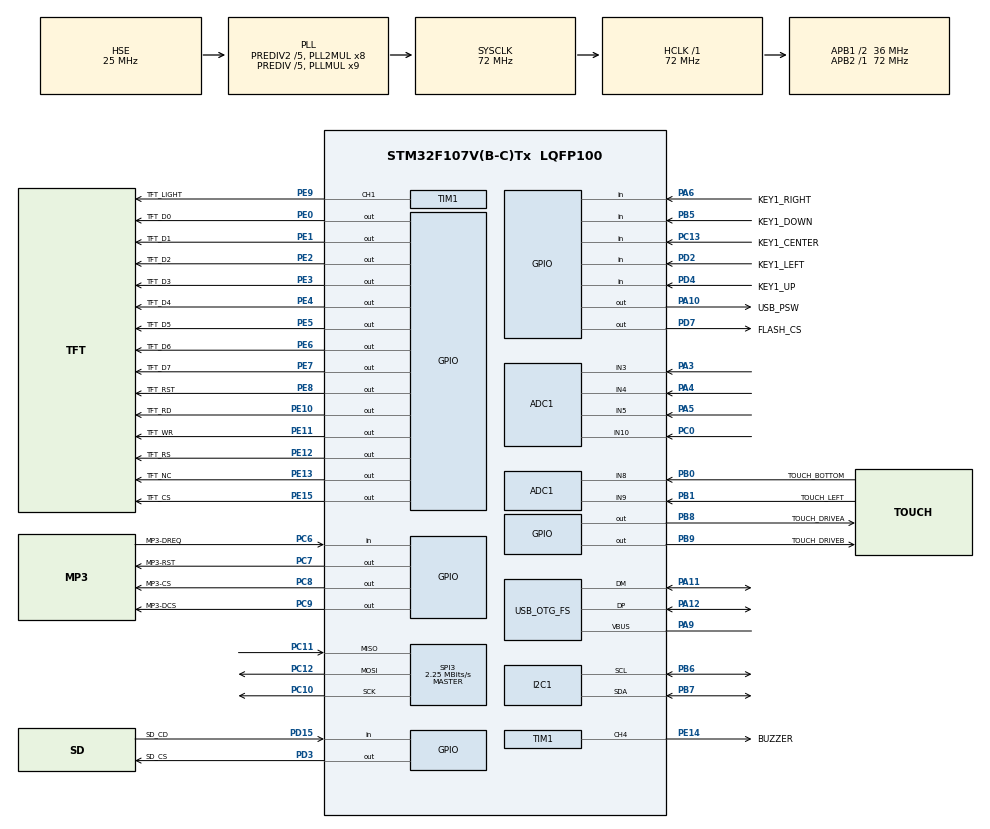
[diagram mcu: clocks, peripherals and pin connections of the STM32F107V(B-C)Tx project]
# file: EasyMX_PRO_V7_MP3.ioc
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ADC1.Channel-0\#ChannelRegularConversion=ADC_CHANNEL_8
ADC1.Channel-1\#ChannelRegularConversion=ADC_CHANNEL_9
ADC1.ContinuousConvMode=ENABLE
ADC1.NbrOfConversion=2
ADC1.NbrOfConversionFlag=1
ADC1.Rank-0\#ChannelRegularConversion=1
ADC1.Rank-1\#ChannelRegularConversion=2
ADC1.SamplingTime-0\#ChannelRegularConversion=ADC_SAMPLETIME_239CYCLES_5
ADC1.SamplingTime-1\#ChannelRegularConversion=ADC_SAMPLETIME_239CYCLES_5
ADC1.master=1
Dma.ADC1.0.Direction=DMA_PERIPH_TO_MEMORY
Dma.ADC1.0.Instance=DMA1_Channel1
Dma.ADC1.0.MemDataAlignment=DMA_MDATAALIGN_HALFWORD
Dma.ADC1.0.MemInc=DMA_MINC_ENABLE
Dma.ADC1.0.Mode=DMA_CIRCULAR
Dma.ADC1.0.PeriphDataAlignment=DMA_PDATAALIGN_HALFWORD
Dma.ADC1.0.PeriphInc=DMA_PINC_DISABLE
Dma.ADC1.0.Priority=DMA_PRIORITY_LOW
Dma.Request0=ADC1
FATFS._CODE_PAGE=1251
FATFS._USE_LFN=3
FREERTOS.Tasks01=defaultTask,0,5048,StartDefaultTask,Default,NULL,Dynamic,NULL,NULL
FREERTOS.configTOTAL_HEAP_SIZE=50096
FREERTOS.configUSE_COUNTING_SEMAPHORES=1
Mcu.Family=STM32F1
Mcu.Name=STM32F107V(B-C)Tx
Mcu.Package=LQFP100
NVIC.ADC1_2_IRQn=true\:5\:0\:false\:false\:true\:true\:true
NVIC.DMA1_Channel1_IRQn=true\:5\:0\:false\:false\:true\:true\:false
NVIC.OTG_FS_IRQn=true\:5\:0\:false\:false\:true\:true\:false
NVIC.PriorityGroup=NVIC_PRIORITYGROUP_4
NVIC.TIM2_IRQn=true\:0\:0\:false\:false\:true\:false\:false
NVIC.TimeBase=TIM2_IRQn
NVIC.TimeBaseIP=TIM2
OSC_IN.Mode=HSE-External-Oscillator
OSC_IN.Signal=RCC_OSC_IN
OSC_OUT.Mode=HSE-External-Oscillator
OSC_OUT.Signal=RCC_OSC_OUT
PA10.GPIO_Label=USB_PSW
PA10.GPIO_Speed=GPIO_SPEED_FREQ_HIGH
PA10.Signal=GPIO_Output
PA11.Mode=Host_Only
PA11.Signal=USB_OTG_FS_DM
PA12.Mode=Host_Only
PA12.Signal=USB_OTG_FS_DP
PA13.Mode=JTAG_5_pins
PA13.Signal=SYS_JTMS-SWDIO
PA14.Mode=JTAG_5_pins
PA14.Signal=SYS_JTCK-SWCLK
PA15.Mode=JTAG_5_pins
PA15.Signal=SYS_JTDI
PA3.Signal=ADCx_IN3
PA4.Signal=ADCx_IN4
PA5.Signal=ADCx_IN5
PA6.GPIO_Label=KEY1_RIGHT
PA6.Signal=GPIO_Input
PA9.Mode=Activate_VBUS
PA9.Signal=USB_OTG_FS_VBUS
PB0.GPIO_Label=TOUCH_BOTTOM
PB0.Signal=ADCx_IN8
PB1.GPIO_Label=TOUCH_LEFT
PB1.Signal=ADCx_IN9
PB3.Mode=JTAG_5_pins
PB3.Signal=SYS_JTDO
PB4.Mode=JTAG_5_pins
PB4.Signal=SYS_NJTRST
PB5.GPIO_Label=KEY1_DOWN
PB5.Signal=GPIO_Input
PB6.Mode=I2C
PB6.Signal=I2C1_SCL
PB7.Mode=I2C
PB7.Signal=I2C1_SDA
PB8.GPIO_Label=TOUCH_DRIVEA
PB8.GPIO_Speed=GPIO_SPEED_FREQ_HIGH
PB8.Signal=GPIO_Output
PB9.GPIO_Label=TOUCH_DRIVEB
PB9.GPIO_Speed=GPIO_SPEED_FREQ_HIGH
PB9.Signal=GPIO_Output
PC0.Signal=ADCx_IN10
PC10.Mode=Full_Duplex_Master
PC10.Signal=SPI3_SCK
PC11.Mode=Full_Duplex_Master
PC11.Signal=SPI3_MISO
PC12.Mode=Full_Duplex_Master
PC12.Signal=SPI3_MOSI
PC13-TAMPER-RTC.GPIO_Label=KEY1_CENTER
PC13-TAMPER-RTC.Signal=GPIO_Input
PC14-OSC32_IN.Mode=LSE-External-Oscillator
PC14-OSC32_IN.Signal=RCC_OSC32_IN
PC15-OSC32_OUT.Mode=LSE-External-Oscillator
PC15-OSC32_OUT.Signal=RCC_OSC32_OUT
PC6.GPIO_Label=MP3-DREQ
PC6.Signal=GPIO_Input
PC7.GPIO_Label=MP3-RST
PC7.GPIO_Speed=GPIO_SPEED_FREQ_LOW
PC7.Signal=GPIO_Output
PC8.GPIO_Label=MP3-CS
PC8.Signal=GPIO_Output
PC9.GPIO_Label=MP3-DCS
PC9.Signal=GPIO_Output
PD0.Signal=CAN1_RX
PD1.Signal=CAN1_TX
PD15.GPIO_Label=SD_CD
PD15.Signal=GPIO_Input
PD2.GPIO_Label=KEY1_LEFT
PD2.Signal=GPIO_Input
PD3.GPIO_Label=SD_CS
PD3.GPIO_Speed=GPIO_SPEED_FREQ_HIGH
PD3.Signal=GPIO_Output
PD4.GPIO_Label=KEY1_UP
PD4.Signal=GPIO_Input
PD5.Signal=USART2_TX
PD6.Signal=USART2_RX
PD7.GPIO_Label=FLASH_CS
PD7.Signal=GPIO_Output
PE0.GPIO_Label=TFT_D0
PE0.GPIO_Speed=GPIO_SPEED_FREQ_HIGH
PE0.Signal=GPIO_Output
PE1.GPIO_Label=TFT_D1
PE1.GPIO_Speed=GPIO_SPEED_FREQ_HIGH
PE1.Signal=GPIO_Output
PE10.GPIO_Label=TFT_RD
PE10.GPIO_Speed=GPIO_SPEED_FREQ_HIGH
PE10.Signal=GPIO_Output
PE11.GPIO_Label=TFT_WR
PE11.GPIO_Speed=GPIO_SPEED_FREQ_HIGH
PE11.Signal=GPIO_Output
PE12.GPIO_Label=TFT_RS
PE12.GPIO_Speed=GPIO_SPEED_FREQ_HIGH
PE12.Signal=GPIO_Output
PE13.GPIO_Label=TFT_NC
PE13.GPIO_Speed=GPIO_SPEED_FREQ_HIGH
PE13.Signal=GPIO_Output
PE14.GPIO_Label=BUZZER
PE14.GPIO_Speed=GPIO_SPEED_FREQ_HIGH
PE14.Signal=S_TIM1_CH4
PE15.GPIO_Label=TFT_CS
PE15.GPIO_Speed=GPIO_SPEED_FREQ_HIGH
PE15.Signal=GPIO_Output
PE2.GPIO_Label=TFT_D2
PE2.GPIO_Speed=GPIO_SPEED_FREQ_HIGH
PE2.Signal=GPIO_Output
PE3.GPIO_Label=TFT_D3
PE3.GPIO_Speed=GPIO_SPEED_FREQ_HIGH
PE3.Signal=GPIO_Output
PE4.GPIO_Label=TFT_D4
PE4.GPIO_Speed=GPIO_SPEED_FREQ_HIGH
PE4.Signal=GPIO_Output
PE5.GPIO_Label=TFT_D5
PE5.GPIO_Speed=GPIO_SPEED_FREQ_HIGH
PE5.Signal=GPIO_Output
PE6.GPIO_Label=TFT_D6
PE6.GPIO_Speed=GPIO_SPEED_FREQ_HIGH
PE6.Signal=GPIO_Output
PE7.GPIO_Label=TFT_D7
PE7.GPIO_Speed=GPIO_SPEED_FREQ_HIGH
PE7.Signal=GPIO_Output
PE8.GPIO_Label=TFT_RST
PE8.GPIO_Speed=GPIO_SPEED_FREQ_HIGH
PE8.Signal=GPIO_Output
PE9.GPIO_Label=TFT_LIGHT
PE9.GPIO_Speed=GPIO_SPEED_FREQ_HIGH
PE9.Signal=S_TIM1_CH1
ProjectManager.HeapSize=0x200
ProjectManager.StackSize=0x400
ProjectManager.TargetToolchain=SW4STM32
RCC.ADCPresc=RCC_ADCPCLK2_DIV6
RCC.AHBFreq_Value=72000000
RCC.APB1CLKDivider=RCC_HCLK_DIV2
RCC.APB1Freq_Value=36000000
RCC.APB1TimFreq_Value=72000000
RCC.APB2Freq_Value=72000000
RCC.APB2TimFreq_Value=72000000
RCC.HCLKFreq_Value=72000000
RCC.HSEDivPLL=RCC_HSE_PREDIV_DIV5
RCC.HSE_VALUE=25000000
RCC.PLLMUL=RCC_PLL_MUL9
RCC.PLLSourceVirtual=RCC_PLLSOURCE_HSE
RCC.Prediv1Source=RCC_PREDIV1_SOURCE_PLL2
RCC.Prediv2=RCC_HSE_PREDIV2_DIV5
RCC.SYSCLKFreq_VALUE=72000000
RCC.SYSCLKSource=RCC_SYSCLKSOURCE_PLLCLK
RCC.USBFreq_Value=48000000
SH.ADCx_IN10.0=ADC1_IN10,IN10
SH.ADCx_IN3.0=ADC1_IN3,IN3
SH.ADCx_IN4.0=ADC1_IN4,IN4
SH.ADCx_IN5.0=ADC1_IN5,IN5
SH.ADCx_IN8.0=ADC1_IN8,IN8
SH.ADCx_IN9.0=ADC1_IN9,IN9
SH.S_TIM1_CH1.0=TIM1_CH1,PWM Generation1 CH1
SH.S_TIM1_CH4.0=TIM1_CH4,PWM Generation4 CH4
SPI3.BaudRatePrescaler=SPI_BAUDRATEPRESCALER_16
SPI3.CalculateBaudRate=2.25 MBits/s
SPI3.Direction=SPI_DIRECTION_2LINES
SPI3.Mode=SPI_MODE_MASTER
SPI3.VirtualType=VM_MASTER
TIM1.Channel-PWM\ Generation1\ CH1=TIM_CHANNEL_1
TIM1.Channel-PWM\ Generation4\ CH4=TIM_CHANNEL_4
TIM1.Period=1000
TIM1.Prescaler=192
TIM1.Pulse-PWM\ Generation1\ CH1=1000
TIM1.Pulse-PWM\ Generation4\ CH4=500
USB_HOST.USBH_HandleTypeDef=hUsbHostFS
USB_HOST.VirtualModeFS=Msc
USB_OTG_FS.VirtualMode=Host_Only
VP_FATFS_VS_Generic.Mode=User_defined
VP_FATFS_VS_USB.Mode=USB
VP_FREERTOS_VS_ENABLE.Mode=Enabled
VP_SYS_VS_tim2.Mode=TIM2
VP_TIM1_VS_ClockSourceINT.Mode=Internal
VP_USB_HOST_VS_USB_HOST_MSC_FS.Mode=MSC_FS
board=EasyMX_PRO_V7_MP3

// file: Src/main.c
/**
  ******************************************************************************
  * @file           : main.c
  * @brief          : Main program body
  ******************************************************************************
  * This notice applies to any and all portions of this file
  * that are not between comment pairs USER CODE BEGIN and
  * USER CODE END. Other portions of this file, whether
  * inserted by the user or by software development tools
  * are owned by their respective copyright owners.
  *
  * Copyright (c) 2018 STMicroelectronics International N.V.
  * All rights reserved.
  *
  * Redistribution and use in source and binary forms, with or without
  * modification, are permitted, provided that the following conditions are met:
  *
  * 1. Redistribution of source code must retain the above copyright notice,
  *    this list of conditions and the following disclaimer.
  * 2. Redistributions in binary form must reproduce the above copyright notice,
  *    this list of conditions and the following disclaimer in the documentation
  *    and/or other materials provided with the distribution.
  * 3. Neither the name of STMicroelectronics nor the names of other
  *    contributors to this software may be used to endorse or promote products
  *    derived from this software without specific written permission.
  * 4. This software, including modifications and/or derivative works of this
  *    software, must execute solely and exclusively on microcontroller or
  *    microprocessor devices manufactured by or for STMicroelectronics.
  * 5. Redistribution and use of this software other than as permitted under
  *    this license is void and will automatically terminate your rights under
  *    this license.
  *
  * THIS SOFTWARE IS PROVIDED BY STMICROELECTRONICS AND CONTRIBUTORS "AS IS"
  * AND ANY EXPRESS, IMPLIED OR STATUTORY WARRANTIES, INCLUDING, BUT NOT
  * LIMITED TO, THE IMPLIED WARRANTIES OF MERCHANTABILITY, FITNESS FOR A
  * PARTICULAR PURPOSE AND NON-INFRINGEMENT OF THIRD PARTY INTELLECTUAL PROPERTY
  * RIGHTS ARE DISCLAIMED TO THE FULLEST EXTENT PERMITTED BY LAW. IN NO EVENT
  * SHALL STMICROELECTRONICS OR CONTRIBUTORS BE LIABLE FOR ANY DIRECT, INDIRECT,
  * INCIDENTAL, SPECIAL, EXEMPLARY, OR CONSEQUENTIAL DAMAGES (INCLUDING, BUT NOT
  * LIMITED TO, PROCUREMENT OF SUBSTITUTE GOODS OR SERVICES; LOSS OF USE, DATA,
  * OR PROFITS; OR BUSINESS INTERRUPTION) HOWEVER CAUSED AND ON ANY THEORY OF
  * LIABILITY, WHETHER IN CONTRACT, STRICT LIABILITY, OR TORT (INCLUDING
  * NEGLIGENCE OR OTHERWISE) ARISING IN ANY WAY OUT OF THE USE OF THIS SOFTWARE,
  * EVEN IF ADVISED OF THE POSSIBILITY OF SUCH DAMAGE.
  *
  ******************************************************************************
  */
#include "main.h"
#include "stm32f1xx_hal.h"
#include "cmsis_os.h"
#include "adc.h"
#include "dma.h"
#include "fatfs.h"
#include "i2c.h"
#include "spi.h"
#include "tim.h"
#include "usb_host.h"
#include "gpio.h"

/* USER CODE BEGIN PV */
/* Private variables ---------------------------------------------------------*/

/* USER CODE END PV */

void SystemClock_Config(void);
void MX_FREERTOS_Init(void);

/* USER CODE BEGIN PFP */
/* Private function prototypes -----------------------------------------------*/

/* USER CODE END PFP */

int main(void)
{

  /* MCU Configuration----------------------------------------------------------*/

  /* Reset of all peripherals, Initializes the Flash interface and the Systick. */
  HAL_Init();

  /* Configure the system clock */
  SystemClock_Config();

  /* Initialize all configured peripherals */
  MX_GPIO_Init();
  MX_DMA_Init();
  MX_SPI3_Init();
  MX_I2C1_Init();
  MX_TIM1_Init();
  MX_ADC1_Init();

  /* Call init function for freertos objects (in freertos.c) */
  MX_FREERTOS_Init();

  /* Start scheduler */
  osKernelStart();

  /* We should never get here as control is now taken by the scheduler */

  /* Infinite loop */
  while (1)
  {

  }

}

void SystemClock_Config(void)
{

  RCC_OscInitTypeDef RCC_OscInitStruct;
  RCC_ClkInitTypeDef RCC_ClkInitStruct;
  RCC_PeriphCLKInitTypeDef PeriphClkInit;

    /**Initializes the CPU, AHB and APB busses clocks
    */
  RCC_OscInitStruct.OscillatorType = RCC_OSCILLATORTYPE_HSE;
  RCC_OscInitStruct.HSEState = RCC_HSE_ON;
  RCC_OscInitStruct.HSEPredivValue = RCC_HSE_PREDIV_DIV5;
  RCC_OscInitStruct.HSIState = RCC_HSI_ON;
  RCC_OscInitStruct.Prediv1Source = RCC_PREDIV1_SOURCE_PLL2;
  RCC_OscInitStruct.PLL.PLLState = RCC_PLL_ON;
  RCC_OscInitStruct.PLL.PLLSource = RCC_PLLSOURCE_HSE;
  RCC_OscInitStruct.PLL.PLLMUL = RCC_PLL_MUL9;
  RCC_OscInitStruct.PLL2.PLL2State = RCC_PLL2_ON;
  RCC_OscInitStruct.PLL2.PLL2MUL = RCC_PLL2_MUL8;
  RCC_OscInitStruct.PLL2.HSEPrediv2Value = RCC_HSE_PREDIV2_DIV5;
  if (HAL_RCC_OscConfig(&RCC_OscInitStruct) != HAL_OK)
  {
    _Error_Handler(__FILE__, __LINE__);
  }

    /**Initializes the CPU, AHB and APB busses clocks
    */
  RCC_ClkInitStruct.ClockType = RCC_CLOCKTYPE_HCLK|RCC_CLOCKTYPE_SYSCLK
                              |RCC_CLOCKTYPE_PCLK1|RCC_CLOCKTYPE_PCLK2;
  RCC_ClkInitStruct.SYSCLKSource = RCC_SYSCLKSOURCE_PLLCLK;
  RCC_ClkInitStruct.AHBCLKDivider = RCC_SYSCLK_DIV1;
  RCC_ClkInitStruct.APB1CLKDivider = RCC_HCLK_DIV2;
  RCC_ClkInitStruct.APB2CLKDivider = RCC_HCLK_DIV1;

  if (HAL_RCC_ClockConfig(&RCC_ClkInitStruct, FLASH_LATENCY_2) != HAL_OK)
  {
    _Error_Handler(__FILE__, __LINE__);
  }

  PeriphClkInit.PeriphClockSelection = RCC_PERIPHCLK_ADC|RCC_PERIPHCLK_USB;
  PeriphClkInit.AdcClockSelection = RCC_ADCPCLK2_DIV6;
  PeriphClkInit.UsbClockSelection = RCC_USBCLKSOURCE_PLL_DIV3;
  if (HAL_RCCEx_PeriphCLKConfig(&PeriphClkInit) != HAL_OK)
  {
    _Error_Handler(__FILE__, __LINE__);
  }

    /**Configure the Systick interrupt time
    */
  HAL_SYSTICK_Config(HAL_RCC_GetHCLKFreq()/1000);

    /**Configure the Systick
    */
  HAL_SYSTICK_CLKSourceConfig(SYSTICK_CLKSOURCE_HCLK);

    /**Configure the Systick interrupt time
    */
  __HAL_RCC_PLLI2S_ENABLE();

  /* SysTick_IRQn interrupt configuration */
  HAL_NVIC_SetPriority(SysTick_IRQn, 15, 0);
}

void HAL_TIM_PeriodElapsedCallback(TIM_HandleTypeDef *htim)
{
  if (htim->Instance == TIM2) {
    HAL_IncTick();
  }
}

void _Error_Handler(char *file, int line)
{
  while(1)
  {
  }
}

/************************ (C) COPYRIGHT STMicroelectronics *****END OF FILE****/

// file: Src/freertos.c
/**
  ******************************************************************************
  * File Name          : freertos.c
  * Description        : Code for freertos applications
  ******************************************************************************
  * This notice applies to any and all portions of this file
  * that are not between comment pairs USER CODE BEGIN and
  * USER CODE END. Other portions of this file, whether
  * inserted by the user or by software development tools
  * are owned by their respective copyright owners.
  *
  * Copyright (c) 2018 STMicroelectronics International N.V.
  * All rights reserved.
  *
  * Redistribution and use in source and binary forms, with or without
  * modification, are permitted, provided that the following conditions are met:
  *
  * 1. Redistribution of source code must retain the above copyright notice,
  *    this list of conditions and the following disclaimer.
  * 2. Redistributions in binary form must reproduce the above copyright notice,
  *    this list of conditions and the following disclaimer in the documentation
  *    and/or other materials provided with the distribution.
  * 3. Neither the name of STMicroelectronics nor the names of other
  *    contributors to this software may be used to endorse or promote products
  *    derived from this software without specific written permission.
  * 4. This software, including modifications and/or derivative works of this
  *    software, must execute solely and exclusively on microcontroller or
  *    microprocessor devices manufactured by or for STMicroelectronics.
  * 5. Redistribution and use of this software other than as permitted under
  *    this license is void and will automatically terminate your rights under
  *    this license.
  *
  * THIS SOFTWARE IS PROVIDED BY STMICROELECTRONICS AND CONTRIBUTORS "AS IS"
  * AND ANY EXPRESS, IMPLIED OR STATUTORY WARRANTIES, INCLUDING, BUT NOT
  * LIMITED TO, THE IMPLIED WARRANTIES OF MERCHANTABILITY, FITNESS FOR A
  * PARTICULAR PURPOSE AND NON-INFRINGEMENT OF THIRD PARTY INTELLECTUAL PROPERTY
  * RIGHTS ARE DISCLAIMED TO THE FULLEST EXTENT PERMITTED BY LAW. IN NO EVENT
  * SHALL STMICROELECTRONICS OR CONTRIBUTORS BE LIABLE FOR ANY DIRECT, INDIRECT,
  * INCIDENTAL, SPECIAL, EXEMPLARY, OR CONSEQUENTIAL DAMAGES (INCLUDING, BUT NOT
  * LIMITED TO, PROCUREMENT OF SUBSTITUTE GOODS OR SERVICES; LOSS OF USE, DATA,
  * OR PROFITS; OR BUSINESS INTERRUPTION) HOWEVER CAUSED AND ON ANY THEORY OF
  * LIABILITY, WHETHER IN CONTRACT, STRICT LIABILITY, OR TORT (INCLUDING
  * NEGLIGENCE OR OTHERWISE) ARISING IN ANY WAY OUT OF THE USE OF THIS SOFTWARE,
  * EVEN IF ADVISED OF THE POSSIBILITY OF SUCH DAMAGE.
  *
  ******************************************************************************
  */

#include "FreeRTOS.h"
#include "task.h"
#include "cmsis_os.h"

/* USER CODE BEGIN Includes */
#include "tim.h"
#include "gfx.h"
#include "gui.h"
#include "sd.h"
#include "fatfs.h"
#include "gaudio_play_board.h"
#include "player.h"
/* USER CODE END Includes */

osThreadId defaultTaskHandle;

/* USER CODE BEGIN Variables */
extern char USER_Path[4]; /* logical drive path */
//  uint16_t i;
  	FRESULT res; //результат выполнения
//  	uint8_t wtext[]="Hello from STM32!!!";
  	FILINFO fileInfo;
  	char *fn;
  	DIR dir;
  	DWORD fre_clust, fre_sect, tot_sect;
//  	volatile uint16_t Timer1=0;
  	uint8_t sect[512];
  	//char buffer1[512] ="Selection of VAM is set by the previous address set instruction. If the address set instruction of RAM is not performed before this instruction, the data that has been read first is invalid, as the direction of AC is not yet determined. If RAM data is read several times without RAM address instructions set before, read operation, the correct RAM data can be obtained from the second. But the first data would be incorrect, as there is no time margin to transfer RAM data. In case of DDRAM read operation The..."; //Ѕуфер данных дл¤ записи/чтени¤
  	extern char str1[60];
//  	uint32_t byteswritten,bytesread;
  	uint8_t result;

  	FATFS SDFatFs;
  	FATFS *fs;
  	FIL MyFile;

#define MY_AUDIO_CHANNEL				0								/* Use channel 0 */
#define MY_PLAY_FILE					"allwrong.wav"

/* USER CODE END Variables */

void StartDefaultTask(void const * argument);

extern void MX_FATFS_Init(void);
extern void MX_USB_HOST_Init(void);
void MX_FREERTOS_Init(void); /* (MISRA C 2004 rule 8.1) */

/* Hook prototypes */

/* Init FreeRTOS */

void MX_FREERTOS_Init(void) {

  /* Create the thread(s) */
  /* definition and creation of defaultTask */
  osThreadDef(defaultTask, StartDefaultTask, osPriorityNormal, 0, 5048);
  defaultTaskHandle = osThreadCreate(osThread(defaultTask), NULL);

}

/* StartDefaultTask function */
void StartDefaultTask(void const * argument)
{
  /* init code for FATFS */
  MX_FATFS_Init();

  /* init code for USB_HOST */
  MX_USB_HOST_Init();

  /* USER CODE BEGIN StartDefaultTask */

osDelay(1000);
  HAL_TIM_PWM_Start(&htim1, TIM_CHANNEL_1);
//  HAL_TIM_PWM_Start(&htim1, TIM_CHANNEL_4); //Buzzer
  gfxInit();
  guiCreate();
  gwinPrintf(GW1, "Test\r\n");
  uint16_t	i;
  char		item[20];
	// Add some items to the list widget
	for (i = 0; i < 5; i++) {
		sprintf(item, "Item Nr.: %d", i);
		gwinListAddItem(ghList1, item, TRUE);
	}

//playfile("/", "moveit.mp3");

//  	osDelay(1000);

  /* Infinite loop */
  for(;;)
  {
	guiEventLoop();
    osDelay(100);
  }
  /* USER CODE END StartDefaultTask */
}

/************************ (C) COPYRIGHT STMicroelectronics *****END OF FILE****/
